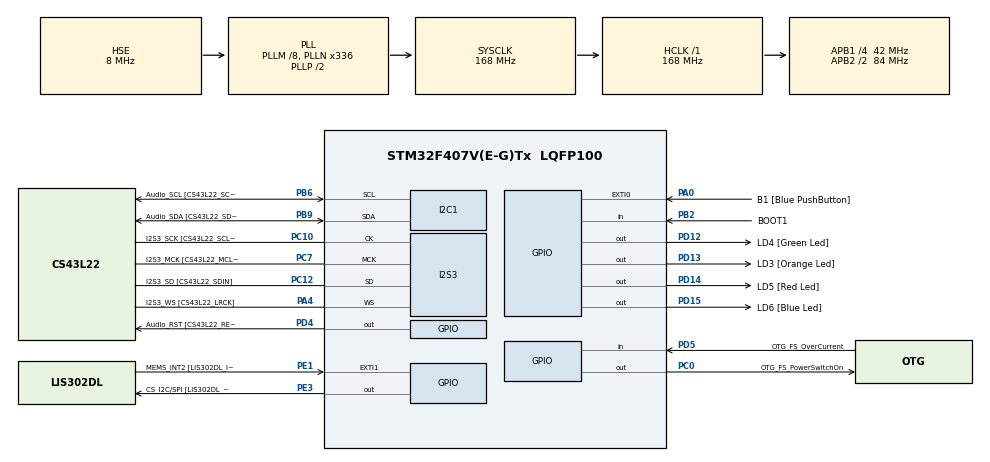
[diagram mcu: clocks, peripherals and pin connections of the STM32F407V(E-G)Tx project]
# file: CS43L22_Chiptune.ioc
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Dma.Request0=SPI3_TX
Dma.SPI3_TX.0.Direction=DMA_MEMORY_TO_PERIPH
Dma.SPI3_TX.0.FIFOMode=DMA_FIFOMODE_ENABLE
Dma.SPI3_TX.0.FIFOThreshold=DMA_FIFO_THRESHOLD_FULL
Dma.SPI3_TX.0.Instance=DMA1_Stream5
Dma.SPI3_TX.0.MemBurst=DMA_MBURST_SINGLE
Dma.SPI3_TX.0.MemDataAlignment=DMA_MDATAALIGN_HALFWORD
Dma.SPI3_TX.0.MemInc=DMA_MINC_ENABLE
Dma.SPI3_TX.0.Mode=DMA_CIRCULAR
Dma.SPI3_TX.0.PeriphBurst=DMA_PBURST_SINGLE
Dma.SPI3_TX.0.PeriphDataAlignment=DMA_PDATAALIGN_HALFWORD
Dma.SPI3_TX.0.PeriphInc=DMA_PINC_DISABLE
Dma.SPI3_TX.0.Priority=DMA_PRIORITY_LOW
I2S3.AudioFreq=I2S_AUDIOFREQ_8K
I2S3.AudioFreq-Half_Duplex_Master=I2S_AUDIOFREQ_96K
I2S3.ErrorAudioFreq=-0.27 %
I2S3.ErrorAudioFreq-Half_Duplex_Master=0.8 %
I2S3.FullDuplexMode=I2S_FULLDUPLEXMODE_DISABLE
I2S3.Instance=SPI$Index
I2S3.RealAudioFreq=7.978 KHz
I2S3.RealAudioFreq-Half_Duplex_Master=96.774 KHz
I2S3.VirtualMode=I2S_MODE_MASTER
Mcu.Family=STM32F4
Mcu.Name=STM32F407V(E-G)Tx
Mcu.Package=LQFP100
NVIC.DMA1_Stream5_IRQn=true\:0\:0\:false\:false\:true\:false\:true\:true
NVIC.PriorityGroup=NVIC_PRIORITYGROUP_0
NVIC.TIM2_IRQn=true\:0\:0\:false\:false\:true\:true\:true\:true
PA0-WKUP.GPIO_Label=B1 [Blue PushButton]
PA0-WKUP.GPIO_ModeDefaultEXTI=GPIO_MODE_EVT_RISING
PA0-WKUP.GPIO_PuPd=GPIO_NOPULL
PA0-WKUP.Signal=GPXTI0
PA10.GPIO_Label=OTG_FS_ID
PA10.GPIO_Mode=GPIO_MODE_AF_PP
PA10.GPIO_PuPd=GPIO_NOPULL
PA10.GPIO_Speed=GPIO_SPEED_FREQ_LOW
PA10.Signal=USB_OTG_FS_ID
PA11.GPIO_Label=OTG_FS_DM
PA11.GPIO_Mode=GPIO_MODE_AF_PP
PA11.GPIO_PuPd=GPIO_NOPULL
PA11.GPIO_Speed=GPIO_SPEED_FREQ_LOW
PA11.Signal=USB_OTG_FS_DM
PA12.GPIO_Label=OTG_FS_DP
PA12.GPIO_Mode=GPIO_MODE_AF_PP
PA12.GPIO_PuPd=GPIO_NOPULL
PA12.GPIO_Speed=GPIO_SPEED_FREQ_LOW
PA12.Signal=USB_OTG_FS_DP
PA13.GPIO_Label=SWDIO
PA13.Mode=Serial_Wire
PA13.Signal=SYS_JTMS-SWDIO
PA14.GPIO_Label=SWCLK
PA14.Mode=Serial_Wire
PA14.Signal=SYS_JTCK-SWCLK
PA4.GPIO_Label=I2S3_WS [CS43L22_LRCK]
PA4.GPIO_Mode=GPIO_MODE_AF_PP
PA4.GPIO_PuPd=GPIO_NOPULL
PA4.GPIO_Speed=GPIO_SPEED_FREQ_LOW
PA4.Mode=Half_Duplex_Master
PA4.Signal=I2S3_WS
PA5.GPIO_Label=SPI1_SCK [LIS302DL_SCL/SPC]
PA5.GPIO_Mode=GPIO_MODE_AF_PP
PA5.GPIO_PuPd=GPIO_NOPULL
PA5.GPIO_Speed=GPIO_SPEED_FREQ_LOW
PA5.Signal=SPI1_SCK
PA6.GPIO_Label=SPI1_MISO [LIS302DL_SDO]
PA6.GPIO_Mode=GPIO_MODE_AF_PP
PA6.GPIO_PuPd=GPIO_NOPULL
PA6.GPIO_Speed=GPIO_SPEED_FREQ_LOW
PA6.Signal=SPI1_MISO
PA7.GPIO_Label=SPI1_MOSI [LIS302DL_SDA/SDI/SDO]
PA7.GPIO_Mode=GPIO_MODE_AF_PP
PA7.GPIO_PuPd=GPIO_NOPULL
PA7.GPIO_Speed=GPIO_SPEED_FREQ_LOW
PA7.Signal=SPI1_MOSI
PA9.GPIO_Label=VBUS_FS
PA9.GPIO_Mode=GPIO_MODE_INPUT
PA9.GPIO_PuPd=GPIO_NOPULL
PA9.Signal=USB_OTG_FS_VBUS
PB10.GPIO_Label=CLK_IN [MP45DT02_CLK]
PB10.GPIO_Mode=GPIO_MODE_AF_PP
PB10.GPIO_PuPd=GPIO_NOPULL
PB10.GPIO_Speed=GPIO_SPEED_FREQ_LOW
PB10.Signal=I2S2_CK
PB2.GPIO_Label=BOOT1
PB2.GPIO_Mode=GPIO_MODE_INPUT
PB2.GPIO_PuPd=GPIO_NOPULL
PB2.Signal=GPIO_Input
PB3.GPIO_Label=SWO
PB3.Signal=SYS_JTDO-SWO
PB6.GPIO_Label=Audio_SCL [CS43L22_SCL]
PB6.GPIO_Mode=GPIO_MODE_AF_OD
PB6.GPIO_Pu=GPIO_PULLUP
PB6.GPIO_PuPd=GPIO_NOPULL
PB6.GPIO_Speed=GPIO_SPEED_FREQ_HIGH
PB6.Mode=I2C
PB6.Signal=I2C1_SCL
PB9.GPIO_Label=Audio_SDA [CS43L22_SDA]
PB9.GPIO_Mode=GPIO_MODE_AF_OD
PB9.GPIO_Pu=GPIO_PULLUP
PB9.GPIO_PuPd=GPIO_NOPULL
PB9.GPIO_Speed=GPIO_SPEED_FREQ_HIGH
PB9.Mode=I2C
PB9.Signal=I2C1_SDA
PC0.GPIO_Label=OTG_FS_PowerSwitchOn
PC0.GPIO_PuPd=GPIO_NOPULL
PC0.GPIO_Speed=GPIO_SPEED_FREQ_LOW
PC0.PinState=GPIO_PIN_SET
PC0.Signal=GPIO_Output
PC10.GPIO_Label=I2S3_SCK [CS43L22_SCLK]
PC10.GPIO_Mode=GPIO_MODE_AF_PP
PC10.GPIO_PuPd=GPIO_NOPULL
PC10.GPIO_Speed=GPIO_SPEED_FREQ_LOW
PC10.Mode=Half_Duplex_Master
PC10.Signal=I2S3_CK
PC12.GPIO_Label=I2S3_SD [CS43L22_SDIN]
PC12.GPIO_Mode=GPIO_MODE_AF_PP
PC12.GPIO_PuPd=GPIO_NOPULL
PC12.GPIO_Speed=GPIO_SPEED_FREQ_LOW
PC12.Mode=Half_Duplex_Master
PC12.Signal=I2S3_SD
PC14-OSC32_IN.GPIO_Label=PC14-OSC32_IN
PC14-OSC32_IN.Mode=LSE-External-Oscillator
PC14-OSC32_IN.Signal=RCC_OSC32_IN
PC15-OSC32_OUT.GPIO_Label=PC15-OSC32_OUT
PC15-OSC32_OUT.Mode=LSE-External-Oscillator
PC15-OSC32_OUT.Signal=RCC_OSC32_OUT
PC3.GPIO_Label=PDM_OUT [MP45DT02_DOUT]
PC3.GPIO_Mode=GPIO_MODE_AF_PP
PC3.GPIO_PuPd=GPIO_NOPULL
PC3.GPIO_Speed=GPIO_SPEED_FREQ_LOW
PC3.Signal=I2S2_SD
PC7.GPIO_Label=I2S3_MCK [CS43L22_MCLK]
PC7.GPIO_Mode=GPIO_MODE_AF_PP
PC7.GPIO_PuPd=GPIO_NOPULL
PC7.GPIO_Speed=GPIO_SPEED_FREQ_LOW
PC7.Mode=Master_Clock_Activated
PC7.Signal=I2S3_MCK
PD12.GPIO_Label=LD4 [Green Led]
PD12.GPIO_PuPd=GPIO_NOPULL
PD12.GPIO_Speed=GPIO_SPEED_FREQ_LOW
PD12.Signal=GPIO_Output
PD13.GPIO_Label=LD3 [Orange Led]
PD13.GPIO_PuPd=GPIO_NOPULL
PD13.GPIO_Speed=GPIO_SPEED_FREQ_LOW
PD13.Signal=GPIO_Output
PD14.GPIO_Label=LD5 [Red Led]
PD14.GPIO_PuPd=GPIO_NOPULL
PD14.GPIO_Speed=GPIO_SPEED_FREQ_LOW
PD14.Signal=GPIO_Output
PD15.GPIO_Label=LD6 [Blue Led]
PD15.GPIO_PuPd=GPIO_NOPULL
PD15.GPIO_Speed=GPIO_SPEED_FREQ_LOW
PD15.Signal=GPIO_Output
PD4.GPIO_Label=Audio_RST [CS43L22_RESET]
PD4.GPIO_PuPd=GPIO_NOPULL
PD4.GPIO_Speed=GPIO_SPEED_FREQ_LOW
PD4.Signal=GPIO_Output
PD5.GPIO_Label=OTG_FS_OverCurrent
PD5.GPIO_Mode=GPIO_MODE_INPUT
PD5.GPIO_PuPd=GPIO_NOPULL
PD5.Signal=GPIO_Input
PE1.GPIO_Label=MEMS_INT2 [LIS302DL_INT2]
PE1.GPIO_ModeDefaultEXTI=GPIO_MODE_EVT_RISING
PE1.GPIO_PuPd=GPIO_NOPULL
PE1.Signal=GPXTI1
PE3.GPIO_Label=CS_I2C/SPI [LIS302DL_CS_I2C/SPI]
PE3.GPIO_PuPd=GPIO_NOPULL
PE3.GPIO_Speed=GPIO_SPEED_FREQ_LOW
PE3.Signal=GPIO_Output
PH0-OSC_IN.GPIO_Label=PH0-OSC_IN
PH0-OSC_IN.Mode=HSE-External-Oscillator
PH0-OSC_IN.Signal=RCC_OSC_IN
PH1-OSC_OUT.GPIO_Label=PH1-OSC_OUT
PH1-OSC_OUT.Mode=HSE-External-Oscillator
PH1-OSC_OUT.Signal=RCC_OSC_OUT
ProjectManager.HeapSize=0x200
ProjectManager.StackSize=0x400
ProjectManager.TargetToolchain=STM32CubeIDE
RCC.48MHZClocksFreq_Value=48000000
RCC.AHBFreq_Value=168000000
RCC.APB1CLKDivider=RCC_HCLK_DIV4
RCC.APB1Freq_Value=42000000
RCC.APB1TimFreq_Value=84000000
RCC.APB2CLKDivider=RCC_HCLK_DIV2
RCC.APB2Freq_Value=84000000
RCC.APB2TimFreq_Value=168000000
RCC.CortexFreq_Value=168000000
RCC.HCLKFreq_Value=168000000
RCC.HSE_VALUE=8000000
RCC.HSI_VALUE=16000000
RCC.PLLM=8
RCC.PLLN=336
RCC.PLLQ=7
RCC.PLLSourceVirtual=RCC_PLLSOURCE_HSE
RCC.SYSCLKFreq_VALUE=168000000
RCC.SYSCLKSource=RCC_SYSCLKSOURCE_PLLCLK
RCC.VCOOutputFreq_Value=336000000
TIM2.AutoReloadPreload=TIM_AUTORELOAD_PRELOAD_ENABLE
TIM2.Period=124
TIM2.Prescaler=83
VP_TIM2_VS_ClockSourceINT.Mode=Internal
board=STM32F407G-DISC1

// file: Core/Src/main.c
/* USER CODE BEGIN Header */
/**
  ******************************************************************************
  * @file           : main.c
  * @brief          : Main program body
  ******************************************************************************
  * @attention
  *
  * Copyright (c) 2025 STMicroelectronics.
  * All rights reserved.
  *
  * This software is licensed under terms that can be found in the LICENSE file
  * in the root directory of this software component.
  * If no LICENSE file comes with this software, it is provided AS-IS.
  *
  ******************************************************************************
  */
/* USER CODE END Header */
#include "main.h"

/* USER CODE BEGIN Includes */
#include "chiptune.h"

#include "codec.h"
/* USER CODE END Includes */

I2C_HandleTypeDef hi2c1;

I2S_HandleTypeDef hi2s3;
DMA_HandleTypeDef hdma_spi3_tx;

TIM_HandleTypeDef htim2;

void SystemClock_Config(void);
static void MX_GPIO_Init(void);
static void MX_DMA_Init(void);
static void MX_I2C1_Init(void);
static void MX_I2S3_Init(void);
static void MX_TIM2_Init(void);

int main(void)
{

  /* MCU Configuration--------------------------------------------------------*/

  /* Reset of all peripherals, Initializes the Flash interface and the Systick. */
  HAL_Init();

  /* Configure the system clock */
  SystemClock_Config();

  /* Initialize all configured peripherals */
  MX_GPIO_Init();
  MX_DMA_Init();
  MX_I2C1_Init();
  MX_I2S3_Init();
  MX_TIM2_Init();
  /* USER CODE BEGIN 2 */
  HAL_GPIO_WritePin(GPIOD, GPIO_PIN_15, GPIO_PIN_SET);  /* LED blu */
  HAL_Delay(500);
  HAL_GPIO_WritePin(GPIOD, GPIO_PIN_15, GPIO_PIN_RESET);

  /* Initialize codec */
  if (CS43L22_Init(&hi2c1) != HAL_OK)
  {
	  Error_Handler();
  }

  /* Initialize chiptune engine */
  Chiptune_Init();

  /* Start I2S transmission with DMA */
  if (HAL_I2S_Transmit_DMA(&hi2s3, (uint16_t*)getAudioBuffer(), AUDIO_BUFFER_SIZE) != HAL_OK)
  {
	  Error_Handler();
  }

  HAL_NVIC_SetPriority(TIM2_IRQn, 0, 0);
  HAL_NVIC_EnableIRQ(TIM2_IRQn);
  /* Start timer for 8kHz interrupt */
  if (HAL_TIM_Base_Start_IT(&htim2) != HAL_OK)
  {
	  Error_Handler();
  }
  /* USER CODE END 2 */

  /* Infinite loop */
  while (1)
  {

    /* USER CODE BEGIN 3 */
    Chiptune_Process();

    if (HAL_GetTick() % 1000 < 10)
	{
	  HAL_GPIO_WritePin(GPIOD, GPIO_PIN_13, GPIO_PIN_SET);
	}
	else
	{
	  HAL_GPIO_WritePin(GPIOD, GPIO_PIN_13, GPIO_PIN_RESET);
	}

	if (HAL_GetTick() % 1000 == 0)
	{
	  if (__HAL_DMA_GET_FLAG(&hdma_spi3_tx, DMA_FLAG_TEIF1_5))
	  {
		  /* DMA error - restart */
		  __HAL_DMA_CLEAR_FLAG(&hdma_spi3_tx, DMA_FLAG_TEIF1_5);
		  HAL_I2S_DMAStop(&hi2s3);
		  HAL_I2S_Transmit_DMA(&hi2s3, (uint16_t*)getAudioBuffer(), AUDIO_BUFFER_SIZE);
	  }
	}

	HAL_Delay(1);
  }
  /* USER CODE END 3 */
}

void SystemClock_Config(void)
{
  RCC_OscInitTypeDef RCC_OscInitStruct = {0};
  RCC_ClkInitTypeDef RCC_ClkInitStruct = {0};

  /** Configure the main internal regulator output voltage
  */
  __HAL_RCC_PWR_CLK_ENABLE();
  __HAL_PWR_VOLTAGESCALING_CONFIG(PWR_REGULATOR_VOLTAGE_SCALE1);

  /** Initializes the RCC Oscillators according to the specified parameters
  * in the RCC_OscInitTypeDef structure.
  */
  RCC_OscInitStruct.OscillatorType = RCC_OSCILLATORTYPE_HSE;
  RCC_OscInitStruct.HSEState = RCC_HSE_ON;
  RCC_OscInitStruct.PLL.PLLState = RCC_PLL_ON;
  RCC_OscInitStruct.PLL.PLLSource = RCC_PLLSOURCE_HSE;
  RCC_OscInitStruct.PLL.PLLM = 8;
  RCC_OscInitStruct.PLL.PLLN = 336;
  RCC_OscInitStruct.PLL.PLLP = RCC_PLLP_DIV2;
  RCC_OscInitStruct.PLL.PLLQ = 7;
  if (HAL_RCC_OscConfig(&RCC_OscInitStruct) != HAL_OK)
  {
    Error_Handler();
  }

  /** Initializes the CPU, AHB and APB buses clocks
  */
  RCC_ClkInitStruct.ClockType = RCC_CLOCKTYPE_HCLK|RCC_CLOCKTYPE_SYSCLK
                              |RCC_CLOCKTYPE_PCLK1|RCC_CLOCKTYPE_PCLK2;
  RCC_ClkInitStruct.SYSCLKSource = RCC_SYSCLKSOURCE_PLLCLK;
  RCC_ClkInitStruct.AHBCLKDivider = RCC_SYSCLK_DIV1;
  RCC_ClkInitStruct.APB1CLKDivider = RCC_HCLK_DIV4;
  RCC_ClkInitStruct.APB2CLKDivider = RCC_HCLK_DIV2;

  if (HAL_RCC_ClockConfig(&RCC_ClkInitStruct, FLASH_LATENCY_5) != HAL_OK)
  {
    Error_Handler();
  }
}

static void MX_I2C1_Init(void)
{

  hi2c1.Instance = I2C1;
  hi2c1.Init.ClockSpeed = 100000;
  hi2c1.Init.DutyCycle = I2C_DUTYCYCLE_2;
  hi2c1.Init.OwnAddress1 = 0;
  hi2c1.Init.AddressingMode = I2C_ADDRESSINGMODE_7BIT;
  hi2c1.Init.DualAddressMode = I2C_DUALADDRESS_DISABLE;
  hi2c1.Init.OwnAddress2 = 0;
  hi2c1.Init.GeneralCallMode = I2C_GENERALCALL_DISABLE;
  hi2c1.Init.NoStretchMode = I2C_NOSTRETCH_DISABLE;
  if (HAL_I2C_Init(&hi2c1) != HAL_OK)
  {
    Error_Handler();
  }

}

static void MX_I2S3_Init(void)
{

  hi2s3.Instance = SPI3;
  hi2s3.Init.Mode = I2S_MODE_MASTER_TX;
  hi2s3.Init.Standard = I2S_STANDARD_PHILIPS;
  hi2s3.Init.DataFormat = I2S_DATAFORMAT_16B;
  hi2s3.Init.MCLKOutput = I2S_MCLKOUTPUT_ENABLE;
  hi2s3.Init.AudioFreq = I2S_AUDIOFREQ_8K;
  hi2s3.Init.CPOL = I2S_CPOL_LOW;
  hi2s3.Init.ClockSource = I2S_CLOCK_PLL;
  hi2s3.Init.FullDuplexMode = I2S_FULLDUPLEXMODE_DISABLE;
  if (HAL_I2S_Init(&hi2s3) != HAL_OK)
  {
    Error_Handler();
  }

}

static void MX_TIM2_Init(void)
{

  TIM_ClockConfigTypeDef sClockSourceConfig = {0};
  TIM_MasterConfigTypeDef sMasterConfig = {0};

  htim2.Instance = TIM2;
  htim2.Init.Prescaler = 83;
  htim2.Init.CounterMode = TIM_COUNTERMODE_UP;
  htim2.Init.Period = 124;
  htim2.Init.ClockDivision = TIM_CLOCKDIVISION_DIV1;
  htim2.Init.AutoReloadPreload = TIM_AUTORELOAD_PRELOAD_ENABLE;
  if (HAL_TIM_Base_Init(&htim2) != HAL_OK)
  {
    Error_Handler();
  }
  sClockSourceConfig.ClockSource = TIM_CLOCKSOURCE_INTERNAL;
  if (HAL_TIM_ConfigClockSource(&htim2, &sClockSourceConfig) != HAL_OK)
  {
    Error_Handler();
  }
  sMasterConfig.MasterOutputTrigger = TIM_TRGO_RESET;
  sMasterConfig.MasterSlaveMode = TIM_MASTERSLAVEMODE_DISABLE;
  if (HAL_TIMEx_MasterConfigSynchronization(&htim2, &sMasterConfig) != HAL_OK)
  {
    Error_Handler();
  }

}

static void MX_DMA_Init(void)
{

  /* DMA controller clock enable */
  __HAL_RCC_DMA1_CLK_ENABLE();

  /* DMA interrupt init */
  /* DMA1_Stream5_IRQn interrupt configuration */
  HAL_NVIC_SetPriority(DMA1_Stream5_IRQn, 0, 0);
  HAL_NVIC_EnableIRQ(DMA1_Stream5_IRQn);

}

static void MX_GPIO_Init(void)
{
  GPIO_InitTypeDef GPIO_InitStruct = {0};

  /* GPIO Ports Clock Enable */
  __HAL_RCC_GPIOE_CLK_ENABLE();
  __HAL_RCC_GPIOC_CLK_ENABLE();
  __HAL_RCC_GPIOH_CLK_ENABLE();
  __HAL_RCC_GPIOA_CLK_ENABLE();
  __HAL_RCC_GPIOB_CLK_ENABLE();
  __HAL_RCC_GPIOD_CLK_ENABLE();

  /*Configure GPIO pin Output Level */
  HAL_GPIO_WritePin(CS_I2C_SPI_GPIO_Port, CS_I2C_SPI_Pin, GPIO_PIN_RESET);

  /*Configure GPIO pin Output Level */
  HAL_GPIO_WritePin(OTG_FS_PowerSwitchOn_GPIO_Port, OTG_FS_PowerSwitchOn_Pin, GPIO_PIN_SET);

  /*Configure GPIO pin Output Level */
  HAL_GPIO_WritePin(GPIOD, LD4_Pin|LD3_Pin|LD5_Pin|LD6_Pin
                          |Audio_RST_Pin, GPIO_PIN_RESET);

  /*Configure GPIO pin : CS_I2C_SPI_Pin */
  GPIO_InitStruct.Pin = CS_I2C_SPI_Pin;
  GPIO_InitStruct.Mode = GPIO_MODE_OUTPUT_PP;
  GPIO_InitStruct.Pull = GPIO_NOPULL;
  GPIO_InitStruct.Speed = GPIO_SPEED_FREQ_LOW;
  HAL_GPIO_Init(CS_I2C_SPI_GPIO_Port, &GPIO_InitStruct);

  /*Configure GPIO pin : OTG_FS_PowerSwitchOn_Pin */
  GPIO_InitStruct.Pin = OTG_FS_PowerSwitchOn_Pin;
  GPIO_InitStruct.Mode = GPIO_MODE_OUTPUT_PP;
  GPIO_InitStruct.Pull = GPIO_NOPULL;
  GPIO_InitStruct.Speed = GPIO_SPEED_FREQ_LOW;
  HAL_GPIO_Init(OTG_FS_PowerSwitchOn_GPIO_Port, &GPIO_InitStruct);

  /*Configure GPIO pin : PDM_OUT_Pin */
  GPIO_InitStruct.Pin = PDM_OUT_Pin;
  GPIO_InitStruct.Mode = GPIO_MODE_AF_PP;
  GPIO_InitStruct.Pull = GPIO_NOPULL;
  GPIO_InitStruct.Speed = GPIO_SPEED_FREQ_LOW;
  GPIO_InitStruct.Alternate = GPIO_AF5_SPI2;
  HAL_GPIO_Init(PDM_OUT_GPIO_Port, &GPIO_InitStruct);

  /*Configure GPIO pin : B1_Pin */
  GPIO_InitStruct.Pin = B1_Pin;
  GPIO_InitStruct.Mode = GPIO_MODE_EVT_RISING;
  GPIO_InitStruct.Pull = GPIO_NOPULL;
  HAL_GPIO_Init(B1_GPIO_Port, &GPIO_InitStruct);

  /*Configure GPIO pins : SPI1_SCK_Pin SPI1_MISO_Pin SPI1_MOSI_Pin */
  GPIO_InitStruct.Pin = SPI1_SCK_Pin|SPI1_MISO_Pin|SPI1_MOSI_Pin;
  GPIO_InitStruct.Mode = GPIO_MODE_AF_PP;
  GPIO_InitStruct.Pull = GPIO_NOPULL;
  GPIO_InitStruct.Speed = GPIO_SPEED_FREQ_LOW;
  GPIO_InitStruct.Alternate = GPIO_AF5_SPI1;
  HAL_GPIO_Init(GPIOA, &GPIO_InitStruct);

  /*Configure GPIO pin : BOOT1_Pin */
  GPIO_InitStruct.Pin = BOOT1_Pin;
  GPIO_InitStruct.Mode = GPIO_MODE_INPUT;
  GPIO_InitStruct.Pull = GPIO_NOPULL;
  HAL_GPIO_Init(BOOT1_GPIO_Port, &GPIO_InitStruct);

  /*Configure GPIO pin : CLK_IN_Pin */
  GPIO_InitStruct.Pin = CLK_IN_Pin;
  GPIO_InitStruct.Mode = GPIO_MODE_AF_PP;
  GPIO_InitStruct.Pull = GPIO_NOPULL;
  GPIO_InitStruct.Speed = GPIO_SPEED_FREQ_LOW;
  GPIO_InitStruct.Alternate = GPIO_AF5_SPI2;
  HAL_GPIO_Init(CLK_IN_GPIO_Port, &GPIO_InitStruct);

  /*Configure GPIO pins : LD4_Pin LD3_Pin LD5_Pin LD6_Pin
                           Audio_RST_Pin */
  GPIO_InitStruct.Pin = LD4_Pin|LD3_Pin|LD5_Pin|LD6_Pin
                          |Audio_RST_Pin;
  GPIO_InitStruct.Mode = GPIO_MODE_OUTPUT_PP;
  GPIO_InitStruct.Pull = GPIO_NOPULL;
  GPIO_InitStruct.Speed = GPIO_SPEED_FREQ_LOW;
  HAL_GPIO_Init(GPIOD, &GPIO_InitStruct);

  /*Configure GPIO pin : VBUS_FS_Pin */
  GPIO_InitStruct.Pin = VBUS_FS_Pin;
  GPIO_InitStruct.Mode = GPIO_MODE_INPUT;
  GPIO_InitStruct.Pull = GPIO_NOPULL;
  HAL_GPIO_Init(VBUS_FS_GPIO_Port, &GPIO_InitStruct);

  /*Configure GPIO pins : OTG_FS_ID_Pin OTG_FS_DM_Pin OTG_FS_DP_Pin */
  GPIO_InitStruct.Pin = OTG_FS_ID_Pin|OTG_FS_DM_Pin|OTG_FS_DP_Pin;
  GPIO_InitStruct.Mode = GPIO_MODE_AF_PP;
  GPIO_InitStruct.Pull = GPIO_NOPULL;
  GPIO_InitStruct.Speed = GPIO_SPEED_FREQ_LOW;
  GPIO_InitStruct.Alternate = GPIO_AF10_OTG_FS;
  HAL_GPIO_Init(GPIOA, &GPIO_InitStruct);

  /*Configure GPIO pin : OTG_FS_OverCurrent_Pin */
  GPIO_InitStruct.Pin = OTG_FS_OverCurrent_Pin;
  GPIO_InitStruct.Mode = GPIO_MODE_INPUT;
  GPIO_InitStruct.Pull = GPIO_NOPULL;
  HAL_GPIO_Init(OTG_FS_OverCurrent_GPIO_Port, &GPIO_InitStruct);

  /*Configure GPIO pin : MEMS_INT2_Pin */
  GPIO_InitStruct.Pin = MEMS_INT2_Pin;
  GPIO_InitStruct.Mode = GPIO_MODE_EVT_RISING;
  GPIO_InitStruct.Pull = GPIO_NOPULL;
  HAL_GPIO_Init(MEMS_INT2_GPIO_Port, &GPIO_InitStruct);

}

/* USER CODE BEGIN 4 */
void HAL_TIM_PeriodElapsedCallback(TIM_HandleTypeDef *htim)
{
    if (htim->Instance == TIM2)
    {
        static uint32_t debug_counter = 0;

        /*DEBUG*/
        if (++debug_counter >= 8000)  /* 1 second */
        {
            debug_counter = 0;
            HAL_GPIO_TogglePin(GPIOD, GPIO_PIN_15);  /* Blue LED */
        }

        /* Calls with 8kHz the AudioCallback */
        Chiptune_AudioCallback();
    }
}

void HAL_I2S_TxHalfCpltCallback(I2S_HandleTypeDef *hi2s)
{
    if (hi2s->Instance == SPI3)
    {
        Chiptune_FillBuffer(FIRST_HALF);
    }
}

void HAL_I2S_TxCpltCallback(I2S_HandleTypeDef *hi2s)
{
    if (hi2s->Instance == SPI3)
    {
        Chiptune_FillBuffer(SECOND_HALF);
    }
}

/* USER CODE END 4 */

void Error_Handler(void)
{
  __disable_irq();
  while (1)
  {
  }
}
